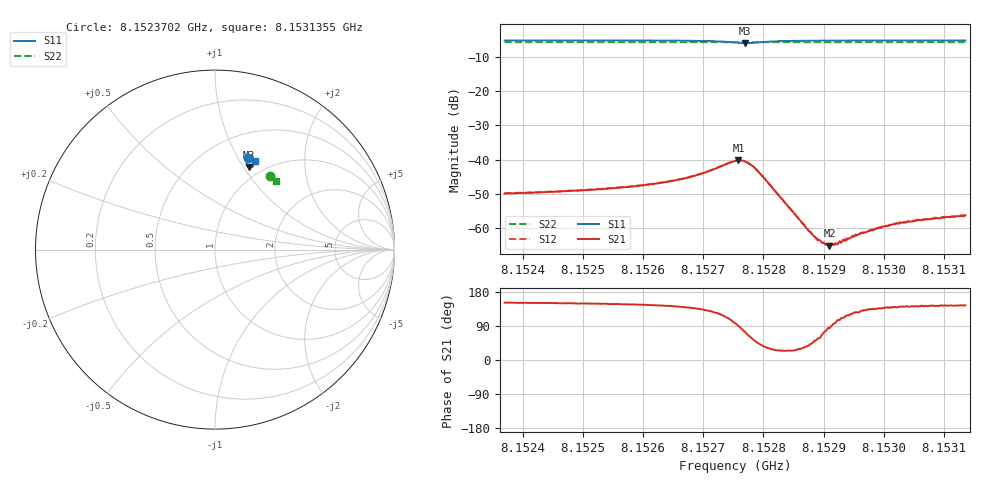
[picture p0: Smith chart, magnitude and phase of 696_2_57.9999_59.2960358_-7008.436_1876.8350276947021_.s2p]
#  HZ  S  RI  R  50.00
! Rohde & Schwarz Vector Network Analyzer
! Rohde-Schwarz,ZNB20-2Port,1311601062101988,3.16
! Created: UTC 3/21/2024, 1:21:28 AM
! freq[Hz]  re:S11  im:S11  re:S21  im:S21  re:S12  im:S12  re:S22  im:S22
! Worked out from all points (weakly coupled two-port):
!   401 points, 8.1523702 GHz to 8.1531355 GHz, reference 50 ohm
!   highest |S21| = -40.17 dB at 8.1527586 GHz (marker M1); lowest = -64.9 dB at 8.1529097 GHz (marker M2)
!   lowest |S11| = -6.1 dB at 8.1527701 GHz (marker M3), VSWR 2.96, Z = 43.4 + j52.7 ohm
!   |S11| at or under -10 dB: nowhere
!   |S22| runs from -5.9 to -5.8 dB; largest |S21 - S12| = 0.00031
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8.15237016e9  0.1814 0.509  -0.00283 0.00155  -0.00285 0.00159  0.3044 0.4108
8.15249836e9  0.1916 0.5052  -0.00308 0.00185  -0.00309 0.00187  0.3111 0.4058
8.15257489e9  0.1985 0.5021  -0.00336 0.00219  -0.00334 0.00229  0.3147 0.4026
8.15262656e9  0.2039 0.4989  -0.00367 0.00268  -0.00369 0.00279  0.3174 0.4004
8.15268396e9  0.2116 0.492  -0.00421 0.00396  -0.00418 0.00403  0.3203 0.3978
8.15275284e9  0.2071 0.4602  -0.00122 0.00943  -0.00112 0.00955  0.3228 0.3941
8.15275858e9  0.2013 0.4576  2.17e-05 0.0098  0.000194 0.00976  0.3229 0.3939
8.15277006e9  0.1876 0.4584  0.00263 0.00891  0.00294 0.00893  0.323 0.3937
8.15278345e9  0.1766 0.4692  0.00471 0.00639  0.00479 0.00624  0.3233 0.3937
8.15279685e9  0.1752 0.4815  0.00464 0.00379  0.0047 0.00371  0.3241 0.3936
8.15288104e9  0.1974 0.4992  0.000582 0.000584  0.000579 0.000554  0.329 0.3905
8.15288869e9  0.1987 0.4992  0.000423 0.000577  0.000424 0.000546  0.3292 0.3901
8.15290017e9  0.2004 0.4991  0.000187 0.000592  0.000211 0.000586  0.33 0.3897
8.15290974e9  0.2018 0.4991  6.24e-05 0.000563  5.75e-05 0.000551  0.3306 0.3893
8.15291931e9  0.2031 0.4989  -7.9e-05 0.000608  -0.000107 0.0006  0.3308 0.3889
8.15293079e9  0.2045 0.4986  -0.000238 0.000606  -0.000246 0.00057  0.3315 0.3884
8.15294418e9  0.2062 0.4984  -0.000374 0.000626  -0.000358 0.00064  0.3321 0.3877
8.15296331e9  0.2082 0.498  -0.000566 0.000658  -0.000549 0.000663  0.3332 0.387
8.15300924e9  0.2127 0.4967  -0.000849 0.000728  -0.000829 0.00077  0.3353 0.3849
8.15301689e9  0.2133 0.4965  -0.000891 0.000751  -0.000876 0.000796  0.3356 0.3847
8.15305707e9  0.2167 0.4953  -0.00104 0.000846  -0.00102 0.000835  0.3376 0.3829
8.15313552e9  0.223 0.4931  -0.00126 0.000914  -0.00124 0.000903  0.3413 0.3795
